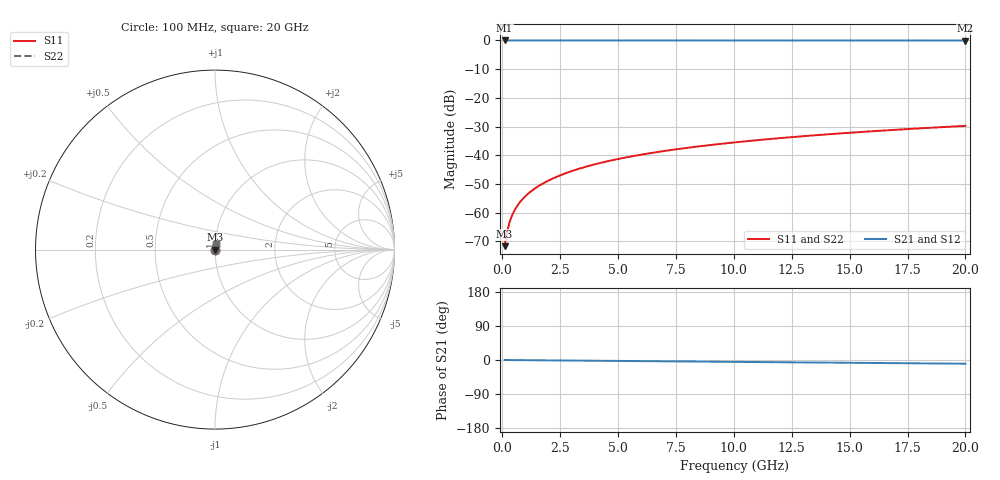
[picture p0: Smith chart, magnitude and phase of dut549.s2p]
! Touchstone file exported from HFSS 2026.1.0
!  File:  C:/ffzhzh/LocalFiles/Ansys_Project_Files/temp_train_TSV_549_1783024246_46388.aedt
!  Generated:  04:32:38 AM Jul  3, 2026
!  Design:  TSV
!  Project:  temp_train_TSV_549_1783024246_46388
! Variables:
!  h_bsmrdl = 2um
!  h_ox = 20um
!  h_rdl = 5um
!  h_sub = 96.28um
!  h_tmrdl = 5um
!  h_tsv = 96.28um
!  h_via = 3um
!  l_bsmrdl = 300um
!  l_sub = 419.46um
!  l_tmrdl = 200um
!  m_sub = 200um
!  pitch = 49.78um
!  r_tsv = 9.73um
!  s_tmrdl = 10um
!  w_bsmrdl = 18um
!  w_sub = 500um
!  w_tmrdl = 12um
!  x_tsv_center1 = 206um
!  x_tsv_center2 = 524um
!  x_tsv_center3 = 736um
!  x_tsv_center4 = 1054um
!  x_tsv_center5 = 1266um
!  x_tsv_center6 = 1584um
# GHz S MA R 50.000000
! Terminal data exported
! Port[1] = TSV1_1_T1
! Port[2] = TSV1_1_T2
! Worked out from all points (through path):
!   200 points, 100 MHz to 20 GHz, reference 50 ohm
!   highest |S21| = 0.00 dB at 100 MHz (marker M1); lowest = 0.0 dB at 20 GHz (marker M2)
!   group delay of S21, straight-line fit = 1.35 ps
!   lowest |S11| = -71.7 dB at 100 MHz (marker M3), VSWR 1.00, Z = 50 + j0.0211 ohm
!   |S11| at or under -10 dB: start of sweep to end of sweep
!   |S22| runs from -71.7 to -29.8 dB; largest |S21 - S12| = 2.3e-15
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0.1  0.0002596 54.4  0.9998 -0.1  0.9998 -0.1  0.0002596 54.4
! Gamma 0 0 0 0
! Port Impedance 50 0 50 0
0.2  0.0004504 68.6  0.9998 -0.1  0.9998 -0.1  0.0004504 68.6
0.3  0.0006495 73.5  0.9998 -0.2  0.9998 -0.2  0.0006495 73.5
0.4  0.0008465 75.7  0.9998 -0.2  0.9998 -0.2  0.0008465 75.7
0.5  0.001039 76.9  0.9998 -0.3  0.9998 -0.3  0.001039 76.9
0.6  0.001226 77.6  0.9997 -0.3  0.9997 -0.3  0.001226 77.6
0.7  0.001409 78.1  0.9997 -0.4  0.9997 -0.4  0.001409 78.1
0.8  0.001587 78.4  0.9997 -0.4  0.9997 -0.4  0.001587 78.4
1  0.001936 79.1  0.9996 -0.5  0.9996 -0.5  0.001936 79.1
1.4  0.002614 80.1  0.9996 -0.7  0.9996 -0.7  0.002614 80.1
1.7  0.003117 80.8  0.9995 -0.8  0.9995 -0.8  0.003117 80.8
2  0.003618 81.3  0.9995 -1.0  0.9995 -1.0  0.003618 81.3
2.7  0.004787 82.0  0.9994 -1.3  0.9994 -1.3  0.004787 82.0
3.5  0.006117 82.4  0.9994 -1.7  0.9994 -1.7  0.006117 82.4
4.2  0.007275 82.5  0.9993 -2.1  0.9993 -2.1  0.007275 82.6
5  0.00859 82.6  0.9992 -2.5  0.9992 -2.5  0.00859 82.6
6.8  0.01152 82.3  0.9991 -3.3  0.9991 -3.3  0.01152 82.3
8.3  0.01394 81.9  0.9989 -4.1  0.9989 -4.1  0.01394 81.9
10.1  0.01683 81.4  0.9988 -5.0  0.9988 -5.0  0.01683 81.4
13.4  0.02209 80.3  0.9985 -6.6  0.9985 -6.6  0.02209 80.3
16.7  0.0273 79.0  0.9983 -8.2  0.9983 -8.2  0.0273 79.0
20  0.03245 77.6  0.998 -9.8  0.998 -9.8  0.03245 77.6
